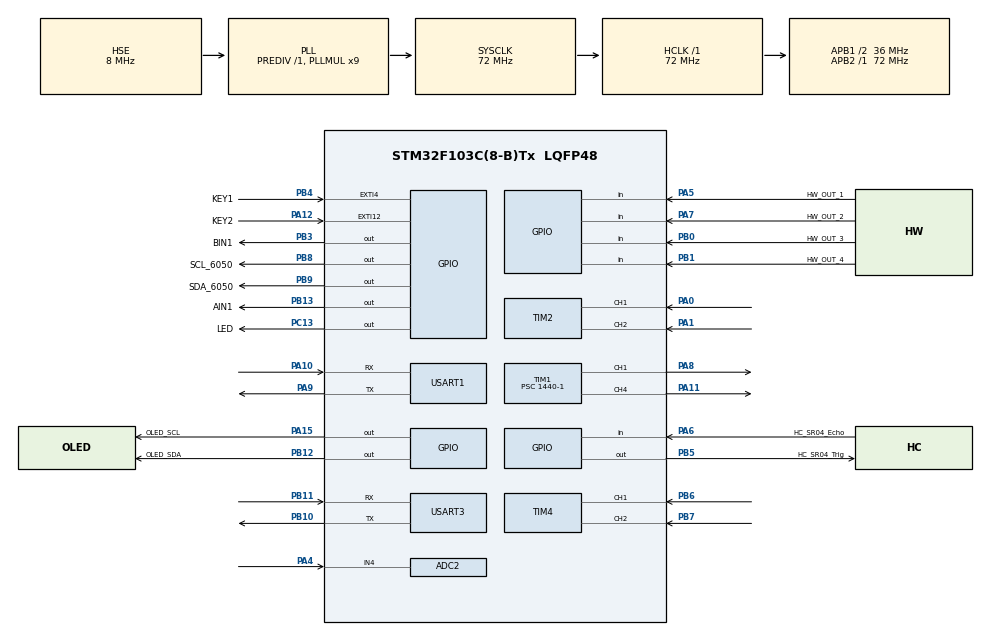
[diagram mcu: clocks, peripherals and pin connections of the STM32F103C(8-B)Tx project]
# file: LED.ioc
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ADC2.Channel-0\#ChannelRegularConversion=ADC_CHANNEL_4
ADC2.NbrOfConversionFlag=1
ADC2.Rank-0\#ChannelRegularConversion=1
ADC2.SamplingTime-0\#ChannelRegularConversion=ADC_SAMPLETIME_13CYCLES_5
Mcu.Family=STM32F1
Mcu.Name=STM32F103C(8-B)Tx
Mcu.Package=LQFP48
NVIC.EXTI15_10_IRQn=true\:0\:0\:false\:false\:true\:true\:true\:true
NVIC.EXTI4_IRQn=true\:0\:0\:false\:false\:true\:true\:true\:true
NVIC.PriorityGroup=NVIC_PRIORITYGROUP_4
NVIC.TIM1_UP_IRQn=true\:0\:0\:false\:false\:true\:true\:true\:true
NVIC.TIM2_IRQn=true\:0\:0\:false\:false\:true\:true\:true\:true
NVIC.TIM4_IRQn=true\:0\:0\:false\:false\:true\:true\:true\:true
NVIC.USART1_IRQn=true\:0\:0\:false\:false\:true\:true\:true\:true
NVIC.USART3_IRQn=true\:0\:0\:false\:false\:true\:true\:true\:true
PA0-WKUP.GPIO_PuPd=GPIO_PULLUP
PA0-WKUP.Signal=S_TIM2_CH1_ETR
PA1.GPIO_PuPd=GPIO_PULLUP
PA1.Signal=S_TIM2_CH2
PA10.Mode=Asynchronous
PA10.Signal=USART1_RX
PA11.Signal=S_TIM1_CH4
PA12.GPIO_Label=KEY2
PA12.GPIO_ModeDefaultEXTI=GPIO_MODE_IT_FALLING
PA12.GPIO_PuPd=GPIO_PULLUP
PA12.Signal=GPXTI12
PA13.Mode=Serial_Wire
PA13.Signal=SYS_JTMS-SWDIO
PA14.Mode=Serial_Wire
PA14.Signal=SYS_JTCK-SWCLK
PA15.GPIO_Label=OLED_SCL
PA15.GPIO_PuPd=GPIO_PULLUP
PA15.PinState=GPIO_PIN_SET
PA15.Signal=GPIO_Output
PA4.Signal=ADCx_IN4
PA5.GPIO_Label=HW_OUT_1
PA5.Signal=GPIO_Input
PA6.GPIO_Label=HC_SR04_Echo
PA6.Signal=GPIO_Input
PA7.GPIO_Label=HW_OUT_2
PA7.Signal=GPIO_Input
PA8.Signal=S_TIM1_CH1
PA9.Mode=Asynchronous
PA9.Signal=USART1_TX
PB0.GPIO_Label=HW_OUT_3
PB0.Signal=GPIO_Input
PB1.GPIO_Label=HW_OUT_4
PB1.Signal=GPIO_Input
PB10.Mode=Asynchronous
PB10.Signal=USART3_TX
PB11.Mode=Asynchronous
PB11.Signal=USART3_RX
PB12.GPIO_Label=OLED_SDA
PB12.GPIO_PuPd=GPIO_PULLUP
PB12.PinState=GPIO_PIN_SET
PB12.Signal=GPIO_Output
PB13.GPIO_Label=AIN1
PB13.Signal=GPIO_Output
PB3.GPIO_Label=BIN1
PB3.Signal=GPIO_Output
PB4.GPIO_Label=KEY1
PB4.GPIO_ModeDefaultEXTI=GPIO_MODE_IT_RISING
PB4.GPIO_PuPd=GPIO_PULLDOWN
PB4.Signal=GPXTI4
PB5.GPIO_Label=HC_SR04_Trig
PB5.Signal=GPIO_Output
PB6.GPIO_PuPd=GPIO_PULLUP
PB6.Signal=S_TIM4_CH1
PB7.GPIO_PuPd=GPIO_PULLUP
PB7.Signal=S_TIM4_CH2
PB8.GPIO_Label=SCL_6050
PB8.PinState=GPIO_PIN_SET
PB8.Signal=GPIO_Output
PB9.GPIO_Label=SDA_6050
PB9.PinState=GPIO_PIN_SET
PB9.Signal=GPIO_Output
PC13-TAMPER-RTC.GPIO_Label=LED
PC13-TAMPER-RTC.Signal=GPIO_Output
PD0-OSC_IN.Mode=HSE-External-Oscillator
PD0-OSC_IN.Signal=RCC_OSC_IN
PD1-OSC_OUT.Mode=HSE-External-Oscillator
PD1-OSC_OUT.Signal=RCC_OSC_OUT
ProjectManager.HeapSize=0x800
ProjectManager.StackSize=0x800
ProjectManager.TargetToolchain=MDK-ARM V5.32
RCC.ADCPresc=RCC_ADCPCLK2_DIV6
RCC.AHBFreq_Value=72000000
RCC.APB1CLKDivider=RCC_HCLK_DIV2
RCC.APB1Freq_Value=36000000
RCC.APB1TimFreq_Value=72000000
RCC.APB2Freq_Value=72000000
RCC.APB2TimFreq_Value=72000000
RCC.HCLKFreq_Value=72000000
RCC.PLLMUL=RCC_PLL_MUL9
RCC.PLLSourceVirtual=RCC_PLLSOURCE_HSE
RCC.SYSCLKFreq_VALUE=72000000
RCC.SYSCLKSource=RCC_SYSCLKSOURCE_PLLCLK
RCC.USBFreq_Value=72000000
SH.ADCx_IN4.0=ADC2_IN4,IN4
SH.S_TIM1_CH1.0=TIM1_CH1,PWM Generation1 CH1
SH.S_TIM1_CH4.0=TIM1_CH4,PWM Generation4 CH4
SH.S_TIM2_CH1_ETR.0=TIM2_CH1,Encoder_Interface
SH.S_TIM2_CH2.0=TIM2_CH2,Encoder_Interface
SH.S_TIM4_CH1.0=TIM4_CH1,Encoder_Interface
SH.S_TIM4_CH2.0=TIM4_CH2,Encoder_Interface
TIM1.AutoReloadPreload=TIM_AUTORELOAD_PRELOAD_ENABLE
TIM1.Channel-PWM\ Generation1\ CH1=TIM_CHANNEL_1
TIM1.Channel-PWM\ Generation4\ CH4=TIM_CHANNEL_4
TIM1.Period=100-1
TIM1.Prescaler=1440-1
TIM1.Pulse-PWM\ Generation1\ CH1=50
TIM1.Pulse-PWM\ Generation4\ CH4=50
TIM2.EncoderMode=TIM_ENCODERMODE_TI12
TIM2.IC1Filter=6
TIM2.IC2Filter=6
TIM4.EncoderMode=TIM_ENCODERMODE_TI12
TIM4.IC1Filter=6
TIM4.IC2Filter=6
USART1.VirtualMode=VM_ASYNC
USART3.VirtualMode=VM_ASYNC
VP_TIM1_VS_ClockSourceINT.Mode=Internal
board=custom

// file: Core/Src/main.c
/* USER CODE BEGIN Header */
/**
  ******************************************************************************
  * @file           : main.c
  * @brief          : Main program body
  ******************************************************************************
  * @attention
  *
  * Copyright (c) 2022 STMicroelectronics.
  * All rights reserved.
  *
  * This software is licensed under terms that can be found in the LICENSE file
  * in the root directory of this software component.
  * If no LICENSE file comes with this software, it is provided AS-IS.
  *
  ******************************************************************************
  */
/* USER CODE END Header */
#include "main.h"
#include "adc.h"
#include "tim.h"
#include "usart.h"
#include "gpio.h"

/* USER CODE BEGIN Includes */
#include "oled.h"
#include "stdio.h"
#include "motor.h"
#include "niming.h"
#include "pid.h"

#include "cJSON.h"
#include <string.h>
#include "HC_SR04.h"

#include "mpu6050.h"
#include "inv_mpu.h"
#include "inv_mpu_dmp_motion_driver.h"
/* USER CODE END Includes */

/* USER CODE BEGIN PM */
extern float Motor1Speed ;
extern float Motor2Speed ;
int Motor1Pwm;
int Motor2Pwm;

extern tPid pidMotor1Speed;
extern tPid pidMotor2Speed;
extern tPid pidFollow;    //定距离跟随PID
extern uint8_t Usart1_ReadBuf[255];	//串口1 缓冲数组
float p,i,d,a,b;
uint8_t OledString[50];
extern float Mileage;//里程数

extern tPid pidHW_Tracking;//红外循迹的PID
uint8_t g_ucaHW_Read[4] = {0};//保存红外对管电平的数组
int8_t g_cThisState = 0;//这次状态
int8_t g_cLastState = 0; //上次状态
float g_fHW_PID_Out;//红外对管PID计算输出速度
float g_fHW_PID_Out1;//电机1的最后循迹PID控制速度
float g_fHW_PID_Out2;//电机2的最后循迹PID控制速度

uint8_t g_ucUsart3ReceiveData;  //保存串口三接收的数据

uint8_t Usart3String[50];
float g_fHC_SR04_Read;//超声波传感器读取障碍物数据
float g_fFollow_PID_Out;//定距离跟随PID计算输出速度

float pitch,roll,yaw; //俯仰角 横滚角 航向角
/* USER CODE END PM */

void SystemClock_Config(void);

int main(void)
{

  /* MCU Configuration--------------------------------------------------------*/

  /* Reset of all peripherals, Initializes the Flash interface and the Systick. */
  HAL_Init();

  /* Configure the system clock */
  SystemClock_Config();

  /* Initialize all configured peripherals */
  MX_GPIO_Init();
  MX_USART1_UART_Init();
  MX_TIM1_Init();
  MX_TIM2_Init();
  MX_TIM4_Init();
  MX_ADC2_Init();
  MX_USART3_UART_Init();
  /* USER CODE BEGIN 2 */
  OLED_Init();			//初始化OLED
  OLED_Clear()  	;
  HAL_TIM_PWM_Start(&htim1,TIM_CHANNEL_1);//开启定时器1 通道1 PWM输出
  HAL_TIM_PWM_Start(&htim1,TIM_CHANNEL_4);//开启定时器1 通道4 PWM输出
  HAL_TIM_Encoder_Start(&htim2,TIM_CHANNEL_ALL);//开启定时器2
  HAL_TIM_Encoder_Start(&htim4,TIM_CHANNEL_ALL);//开启定时器4
  HAL_TIM_Base_Start_IT(&htim2);				//开启定时器2 中断
  HAL_TIM_Base_Start_IT(&htim4);                //开启定时器4 中断

  HAL_TIM_Base_Start_IT(&htim1);                //开启定时器1 中断
  __HAL_UART_ENABLE_IT(&huart1,UART_IT_RXNE);	//开启串口1接收中断
  PID_init();
  HAL_UART_Receive_IT(&huart3,&g_ucUsart3ReceiveData,1);  //串口三接收数据

  HAL_Delay(500);//延时0.5秒 6050上电稳定后初始化
  MPU_Init(); //初始化MPU6050
  while(MPU_Init()!=0);
  while(mpu_dmp_init()!=0);

//  cJSON *cJsonData ,*cJsonVlaue;
  /* USER CODE END 2 */

  /* Infinite loop */
  while (1)
  {

    /* USER CODE BEGIN 3 */
//	OLED_ShowCHinese(0,0,0);//中
//	OLED_ShowCHinese(18,0,1);//景
//	OLED_ShowCHinese(36,0,2);//园
//	OLED_ShowCHinese(54,0,3);//电
//	OLED_ShowCHinese(72,0,4);//子
//	OLED_ShowCHinese(90,0,5);//科
//	OLED_ShowCHinese(108,0,6);//技
//	__HAL_TIM_SET_COMPARE(&htim1, TIM_CHANNEL_4, 0);
//    __HAL_TIM_SET_COMPARE(&htim1, TIM_CHANNEL_1, 90);
//    __HAL_TIM_SET_COMPARE(&htim1, TIM_CHANNEL_4, 90);
//	HAL_GPIO_WritePin(AIN1_GPIO_Port,AIN1_Pin,GPIO_PIN_RESET);
//	HAL_GPIO_WritePin(BIN1_GPIO_Port,BIN1_Pin,GPIO_PIN_RESET);

//	if(Motor1Speed <2.9) Motor1Pwm++;
//	if(Motor1Speed >3.1) Motor1Pwm--;
//	if(Motor2Speed <2.9) Motor2Pwm++;
//	if(Motor2Speed >3.1) Motor2Pwm--;

//	printf("Motor1Speed:%.2f Motor1Pwm:%d\r\n",Motor1Speed,Motor1Pwm);
//	printf("Motor2Speed:%.2f Motor2Pwm:%d\r\n",Motor2Speed,Motor2Pwm);
//	HAL_Delay(10);
//	motorPidSetSpeed(1,2);//右边运动
//	motorPidSetSpeed(2,1);//左边运动
//	motorPidSetSpeed(1,1);//前运动
//	motorPidSetSpeed(-1,-1);//后运动
//    motorPidSetSpeed(-1,1); //向右原地旋转
//	motorPidSetSpeed(1,-1); //向左原地旋转
//    motorPidSpeedCut();

//	sprintf((char*)OledString, "V1:%.2fV2:%.2f", Motor1Speed,Motor2Speed);//
//	OLED_ShowString(0,0,OledString,12);//这个是oled驱动里面的，是显示位置的一个函数，
//
//	sprintf((char*)OledString, "Mileage:%.2f", Mileage);//
//	OLED_ShowString(0,1,OledString,12);//这个是oled驱动里面的，是显示位置的一个函数，
//
//	sprintf((char*)OledString, "U:%.2fV", adcGetBatteryVoltage());//
//	OLED_ShowString(0,2,OledString,12);//这个是oled驱动里面的，是显示位置的一个函数，

///****    红外PID循迹功能******************/
//	g_ucaHW_Read[0] = READ_HW_OUT_1;//读取红外对管状态、这样相比于写在if里面更高效
//	g_ucaHW_Read[1] = READ_HW_OUT_2;
//	g_ucaHW_Read[2] = READ_HW_OUT_3;
//	g_ucaHW_Read[3] = READ_HW_OUT_4;

//	if(g_ucaHW_Read[0] == 0&&g_ucaHW_Read[1] == 0&&g_ucaHW_Read[2] == 0&&g_ucaHW_Read[3] == 0 )
//	{
////		printf("应该前进\r\n");//注释掉更加高效，减少无必要程序执行
//		g_cThisState = 0;//前进
//	}
//	else if(g_ucaHW_Read[0] == 0&&g_ucaHW_Read[1] == 1&&g_ucaHW_Read[2] == 0&&g_ucaHW_Read[3] == 0 )//使用else if更加合理高效
//	{
////		printf("应该右转\r\n");
//		g_cThisState = -1;//应该右转
//	}
//	else if(g_ucaHW_Read[0] == 1&&g_ucaHW_Read[1] == 0&&g_ucaHW_Read[2] == 0&&g_ucaHW_Read[3] == 0 )
//	{
////		printf("快速右转\r\n");
//		g_cThisState = -2;//快速右转
//	}
//	else if(g_ucaHW_Read[0] == 1&&g_ucaHW_Read[1] == 1&&g_ucaHW_Read[2] == 0&&g_ucaHW_Read[3] == 0)
//	{
////		printf("快速右转\r\n");
//		g_cThisState = -3;//快速右转
//	}
//	else if(g_ucaHW_Read[0] == 0&&g_ucaHW_Read[1] == 0&&g_ucaHW_Read[2] == 1&&g_ucaHW_Read[3] == 0 )
//	{
////		printf("应该左转\r\n");
//		g_cThisState = 1;//应该左转
//	}
//	else if(g_ucaHW_Read[0] == 0&&g_ucaHW_Read[1] == 0&&g_ucaHW_Read[2] == 0&&g_ucaHW_Read[3] == 1 )
//	{
////		printf("快速左转\r\n");
//		g_cThisState = 2;//快速左转
//	}
//	else if(g_ucaHW_Read[0] == 0&&g_ucaHW_Read[1] == 0&&g_ucaHW_Read[2] == 1&&g_ucaHW_Read[3] == 1)
//	{
////	    printf("快速左转\r\n");
//		g_cThisState = 3;//快速左转
//	}
//	g_fHW_PID_Out = PID_realize(&pidHW_Tracking,g_cThisState);//PID计算输出目标速度 这个速度，会和基础速度加减

//	g_fHW_PID_Out1 = 3 + g_fHW_PID_Out;//电机1速度=基础速度+循迹PID输出速度
//	g_fHW_PID_Out2 = 3 - g_fHW_PID_Out;//电机1速度=基础速度-循迹PID输出速度
//	if(g_fHW_PID_Out1 >5) g_fHW_PID_Out1 =5;//进行限幅 限幅速度在0-5之间
//	if(g_fHW_PID_Out1 <0) g_fHW_PID_Out1 =0;
//	if(g_fHW_PID_Out2 >5) g_fHW_PID_Out2 =5;
//	if(g_fHW_PID_Out2 <0) g_fHW_PID_Out2 =0;
//	if(g_cThisState != g_cLastState)//如何这次状态不等于上次状态、就进行改变目标速度和控制电机、在定时器中依旧定时控制电机
//	{
//		motorPidSetSpeed(g_fHW_PID_Out1,g_fHW_PID_Out2);//通过计算的速度控制电机
//	}
//
//	g_cLastState = g_cThisState;//保存上次红外对管状态

//通过串口三(蓝牙)输出信息
//***************串口三输出****************************//
	sprintf((char *)Usart3String,"V1:%.2fV2:%.2f\r\n",Motor1Speed,Motor2Speed);//显示两个电机转速 单位：转/秒
	HAL_UART_Transmit(&huart3,( uint8_t *)Usart3String,strlen(( const  char  *)Usart3String),50);//阻塞式发送通过串口三输出字符 strlen:计算字符串大小

	sprintf((char *)Usart3String,"Mileage%.2f\r\n",Mileage);//计算小车里程 单位cm
	HAL_UART_Transmit(&huart3,( uint8_t *)Usart3String,strlen(( const  char  *)Usart3String),50);//阻塞式发送通过串口三输出字符 strlen:计算字符串大小

	sprintf((char *)Usart3String,"U:%.2fV\r\n",adcGetBatteryVoltage());//显示电池电压
	HAL_UART_Transmit(&huart3,( uint8_t *)Usart3String,strlen(( const  char  *)Usart3String),50);//阻塞式发送通过串口三输出字符 strlen:计算字符串大小

	sprintf((char *)Usart3String,"HC_SR04:%.2fcm\r\n",HC_SR04_Read());//显示超声波数据
	HAL_UART_Transmit(&huart3,( uint8_t *)Usart3String,strlen(( const  char  *)Usart3String),0xFFFF);//通过串口三输出字符 strlen:计算字符串大小

   	sprintf((char *)Usart3String,"pitch:%.2f roll:%.2f yaw:%.2f\r\n",pitch,roll,yaw);//显示6050数据 俯仰角 横滚角 航向角
	HAL_UART_Transmit(&huart3,( uint8_t *)Usart3String,strlen(( const  char  *)Usart3String),0xFFFF);//通过串口三输出字符 strlen:计算字符串大小

   //mpu_dmp_get_data(&pitch,&roll,&yaw);//返回值:0,DMP成功解出欧拉角
    while(mpu_dmp_get_data(&pitch,&roll,&yaw)!=0){}  //这个可以解决经常读不出数据的问题

	HAL_Delay(5);//注意调用不可以过于频繁HC_SR04_Read()

////**************避障功能********************//
////避障逻辑
//	if(HC_SR04_Read() > 25)//前方无障碍物
//	{
//		motorPidSetSpeed(1,1);//前运动
//		HAL_Delay(100);
//	}
//	else{	//前方有障碍物
//		motorPidSetSpeed(-1,1);//右边运动 原地
//		HAL_Delay(500);
//		if(HC_SR04_Read() > 25)//右边无障碍物
//		{
//			motorPidSetSpeed(1,1);//前运动
//			HAL_Delay(100);
//		}
//		else{//右边有障碍物
//			motorPidSetSpeed(1,-1);//左边运动 原地
//			HAL_Delay(1000);
//			if(HC_SR04_Read() >25)//左边无障碍物
//			{
//				 motorPidSetSpeed(1,1);//前运动
//				HAL_Delay(100);
//			}
//			else{
//				motorPidSetSpeed(-1,-1);//后运动
//				HAL_Delay(1000);
//				motorPidSetSpeed(-1,1);//右边运动
//				HAL_Delay(50);
//			}
//		}
//	}

////*************无PID跟随功能************//
//	if(HC_SR04_Read() > 25)
//	{
//		motorPidSetSpeed(1,1);//前运动
//		HAL_Delay(100);
//	}
//	if(HC_SR04_Read() < 20)
//	{
//		motorPidSetSpeed(-1,-1);//后运动
//		HAL_Delay(100);
//	}

////**********PID跟随功能***********//
//    g_fHC_SR04_Read=HC_SR04_Read();//读取前方障碍物距离
//	if(g_fHC_SR04_Read < 60){  //如果前60cm 有东西就启动跟随
//		g_fFollow_PID_Out = PID_realize(&pidFollow,g_fHC_SR04_Read);//PID计算输出目标速度 这个速度，会和基础速度加减
//		if(g_fFollow_PID_Out > 6) g_fFollow_PID_Out = 6;//对输出速度限幅
//		if(g_fFollow_PID_Out < -6) g_fFollow_PID_Out = -6;
//		motorPidSetSpeed(g_fFollow_PID_Out,g_fFollow_PID_Out);//速度作用与电机上
//	}
//	else motorPidSetSpeed(0,0);//如果前面60cm 没有东西就停止
//	HAL_Delay(10);//读取超声波传感器不能过快

//	ANO_DT_Send_F2(Motor1Speed*100, 3.0*100,Motor2Speed*100,3.0*100);//向匿名上位机通过F2帧发送4个int16类型的数据 曲线显示
//	if(Usart_WaitReasFinish() == 0)//是否接收完毕
//	{
//		cJsonData  = cJSON_Parse((const char *)Usart1_ReadBuf);
//		if(cJSON_GetObjectItem(cJsonData,"p") !=NULL)
//		{
//			cJsonVlaue = cJSON_GetObjectItem(cJsonData,"p");
//		    p = cJsonVlaue->valuedouble;
//			pidMotor1Speed.Kp = p;
//		}
//		if(cJSON_GetObjectItem(cJsonData,"i") !=NULL)
//		{
//			cJsonVlaue = cJSON_GetObjectItem(cJsonData,"i");
//		    i = cJsonVlaue->valuedouble;
//			pidMotor1Speed.Ki = i;
//		}
//		if(cJSON_GetObjectItem(cJsonData,"d") !=NULL)
//		{
//			cJsonVlaue = cJSON_GetObjectItem(cJsonData,"d");
//		    d = cJsonVlaue->valuedouble;
//			pidMotor1Speed.Kd = d;
//		}
//		if(cJSON_GetObjectItem(cJsonData,"a") !=NULL)
//		{
//
//			cJsonVlaue = cJSON_GetObjectItem(cJsonData,"a");
//		    a = cJsonVlaue->valuedouble;
//			pidMotor1Speed.target_val =a;
//		}
//		if(cJSON_GetObjectItem(cJsonData,"b") !=NULL)
//		{
//
//			cJsonVlaue = cJSON_GetObjectItem(cJsonData,"b");
//		    b = cJsonVlaue->valuedouble;
//			pidMotor2Speed.target_val =b;
//		}
//		if(cJsonData != NULL){
//		  cJSON_Delete(cJsonData);//释放空间、但是不能删除cJsonVlaue不然会 出现异常错误
//		}
//		memset(Usart1_ReadBuf,0,255);//清空接收buf，注意这里不能使用strlen
//	}
//	printf("P:%.3f  I:%.3f  D:%.3f A:%.3f\r\n",p,i,d,a);

//	__HAL_TIM_SET_COMPARE(&htim1, TIM_CHANNEL_1, 10);
//	__HAL_TIM_SET_COMPARE(&htim1, TIM_CHANNEL_4, 10);
//	HAL_GPIO_WritePin(BIN1_GPIO_Port,BIN1_Pin,GPIO_PIN_SET);
//	HAL_GPIO_WritePin(AIN1_GPIO_Port,AIN1_Pin,GPIO_PIN_SET);

//	uint8_t c_Data[] = "串口输出测试:好家伙VCC\r\n";
//	HAL_UART_Transmit(&huart1,c_Data,sizeof(c_Data),0xFFFF);
//	HAL_Delay(1000);
//	printf("printf:好家伙VCC测试\r\n");
//	HAL_GPIO_TogglePin(LED_GPIO_Port,LED_Pin);
//	HAL_Delay(500);

  }
  /* USER CODE END 3 */
}

void SystemClock_Config(void)
{
  RCC_OscInitTypeDef RCC_OscInitStruct = {0};
  RCC_ClkInitTypeDef RCC_ClkInitStruct = {0};
  RCC_PeriphCLKInitTypeDef PeriphClkInit = {0};

  /** Initializes the RCC Oscillators according to the specified parameters
  * in the RCC_OscInitTypeDef structure.
  */
  RCC_OscInitStruct.OscillatorType = RCC_OSCILLATORTYPE_HSE;
  RCC_OscInitStruct.HSEState = RCC_HSE_ON;
  RCC_OscInitStruct.HSEPredivValue = RCC_HSE_PREDIV_DIV1;
  RCC_OscInitStruct.HSIState = RCC_HSI_ON;
  RCC_OscInitStruct.PLL.PLLState = RCC_PLL_ON;
  RCC_OscInitStruct.PLL.PLLSource = RCC_PLLSOURCE_HSE;
  RCC_OscInitStruct.PLL.PLLMUL = RCC_PLL_MUL9;
  if (HAL_RCC_OscConfig(&RCC_OscInitStruct) != HAL_OK)
  {
    Error_Handler();
  }

  /** Initializes the CPU, AHB and APB buses clocks
  */
  RCC_ClkInitStruct.ClockType = RCC_CLOCKTYPE_HCLK|RCC_CLOCKTYPE_SYSCLK
                              |RCC_CLOCKTYPE_PCLK1|RCC_CLOCKTYPE_PCLK2;
  RCC_ClkInitStruct.SYSCLKSource = RCC_SYSCLKSOURCE_PLLCLK;
  RCC_ClkInitStruct.AHBCLKDivider = RCC_SYSCLK_DIV1;
  RCC_ClkInitStruct.APB1CLKDivider = RCC_HCLK_DIV2;
  RCC_ClkInitStruct.APB2CLKDivider = RCC_HCLK_DIV1;

  if (HAL_RCC_ClockConfig(&RCC_ClkInitStruct, FLASH_LATENCY_2) != HAL_OK)
  {
    Error_Handler();
  }
  PeriphClkInit.PeriphClockSelection = RCC_PERIPHCLK_ADC;
  PeriphClkInit.AdcClockSelection = RCC_ADCPCLK2_DIV6;
  if (HAL_RCCEx_PeriphCLKConfig(&PeriphClkInit) != HAL_OK)
  {
    Error_Handler();
  }
}

void Error_Handler(void)
{
  __disable_irq();
  while (1)
  {
  }
}
